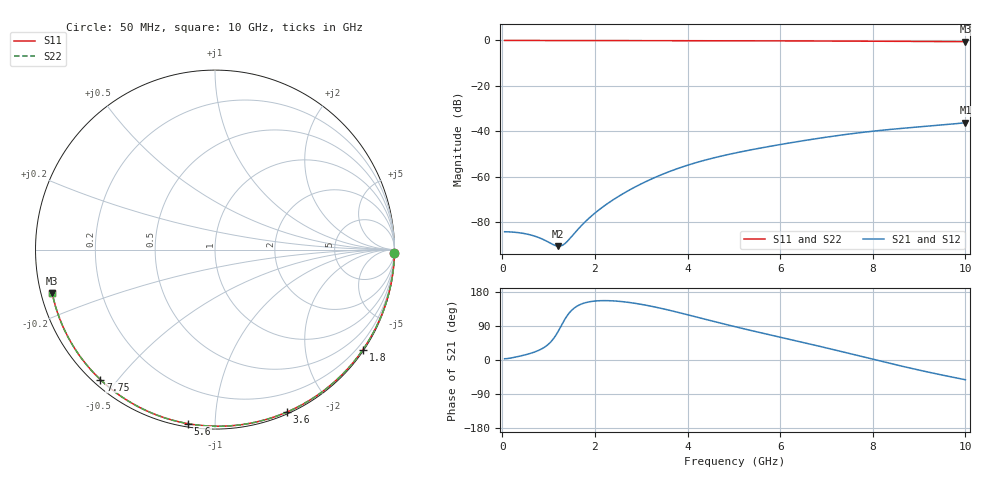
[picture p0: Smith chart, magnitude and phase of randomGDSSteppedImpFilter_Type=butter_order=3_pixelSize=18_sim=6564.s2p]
! freq	dB(S11)	phase(S11)	dB(S12)	phase(S12)
!  dB(S21)	phase(S21)	dB(S22)	phase(S22)
!S-par simulation data
#  GHz  S  DB  R 50
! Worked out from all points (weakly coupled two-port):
!   200 points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, 50 MHz to 10 GHz, reference 50 ohm
!   highest |S21| = -36.18 dB at 10 GHz (marker M1); lowest = -90.5 dB at 1.2 GHz (marker M2)
!   lowest |S11| = -0.5 dB at 10 GHz (marker M3), VSWR 31.75, Z = 1.6 - j6.53 ohm
!   |S11| at or under -10 dB: nowhere
!   |S22| runs from -0.5 to 0.0 dB; largest |S21 - S12| = 0
!   S11 on the Smith chart (normalised r, x): 50 MHz: open; 1.8 GHz: 0.03, -3.26; 3.6 GHz: 0.02, -1.53; 5.6 GHz: 0.02, -0.86; 7.75 GHz: 0.02, -0.45; 10 GHz: 0.03, -0.13
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0.05  -0.00 -1.0  -84.12 3.4  -84.12 3.4  -0.00 -1.0
0.6  -0.01 -11.5  -85.47 17.2  -85.47 17.2  -0.01 -11.5
1.2  -0.03 -22.9  -90.48 74.1  -90.48 74.1  -0.03 -22.9
1.75  -0.04 -33.1  -80.56 149.6  -80.56 149.6  -0.04 -33.1
1.8  -0.04 -34.1  -79.56 151.4  -79.56 151.4  -0.04 -34.1
2.1  -0.05 -39.6  -74.30 156.4  -74.30 156.4  -0.05 -39.6
2.3  -0.06 -43.2  -71.35 156.5  -71.35 156.5  -0.06 -43.2
2.5  -0.06 -46.8  -68.71 155.1  -68.71 155.1  -0.06 -46.8
2.95  -0.07 -54.9  -63.58 147.9  -63.58 147.9  -0.07 -54.9
3.4  -0.08 -62.7  -59.35 137.1  -59.35 137.1  -0.08 -62.7
3.6  -0.09 -66.2  -57.72 131.5  -57.72 131.5  -0.09 -66.2
3.9  -0.10 -71.3  -55.54 122.5  -55.54 122.5  -0.10 -71.3
4.25  -0.11 -77.1  -53.35 111.7  -53.35 111.7  -0.11 -77.1
4.65  -0.12 -83.7  -51.23 99.2  -51.23 99.2  -0.12 -83.7
5.05  -0.14 -90.2  -49.41 87.2  -49.41 87.2  -0.14 -90.2
5.6  -0.16 -98.9  -47.22 71.3  -47.22 71.3  -0.16 -98.9
6.15  -0.19 -107.4  -45.26 56.0  -45.26 56.0  -0.19 -107.4
6.7  -0.23 -115.8  -43.44 40.5  -43.44 40.5  -0.23 -115.8
7.75  -0.30 -131.4  -40.49 9.6  -40.49 9.6  -0.30 -131.4
8.35  -0.36 -140.3  -39.18 -8.3  -39.18 -8.3  -0.36 -140.3
9.2  -0.45 -152.9  -37.67 -32.0  -37.67 -32.0  -0.45 -152.9
10  -0.55 -165.1  -36.18 -52.1  -36.18 -52.1  -0.55 -165.1
